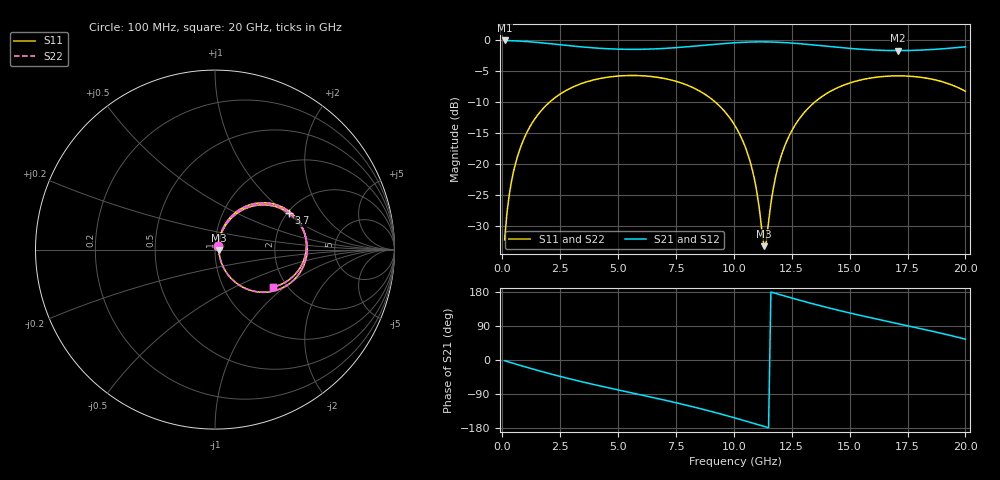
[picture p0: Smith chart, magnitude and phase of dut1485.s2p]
! Touchstone file exported from HFSS 2026.1.0
!  File:  C:/ffzhzh/LocalFiles/Ansys_Project_Files/temp_train_TSV_RDL_1485_1783363584_50076.aedt
!  Generated:  02:59:28 AM Jul  7, 2026
!  Design:  TSV_RDL
!  Project:  temp_train_TSV_RDL_1485_1783363584_50076
! Variables:
!  h_bsmrdl = 5.16um
!  h_ox = 20um
!  h_rdl = 5um
!  h_sub = 91.97um
!  h_tmrdl = 4.09um
!  h_tsv = 91.97um
!  h_via = 3um
!  l_bsmrdl = 996.84um
!  l_sub = 5146um
!  l_tmrdl = 403.35um
!  m_sub = 200um
!  pitch = 56.89um
!  r_tsv = 12.35um
!  s_tmrdl = 10um
!  w_bsmrdl = 25.47um
!  w_sub = 500um
!  w_tmrdl = 21.89um
!  x_tsv_center1 = 414.295um
!  x_tsv_center2 = 1436.605um
!  x_tsv_center3 = 1861.845um
!  x_tsv_center4 = 2884.155um
!  x_tsv_center5 = 3309.395um
!  x_tsv_center6 = 4331.705um
# GHz S MA R 50.000000
! Terminal data exported
! Port[1] = TM_RDL1_1_T1
! Port[2] = TM_RDL5_1_T1
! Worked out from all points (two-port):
!   200 points, 100 MHz to 20 GHz, reference 50 ohm
!   highest |S21| = -0.14 dB at 100 MHz (marker M1); lowest = -1.8 dB at 17.1 GHz (marker M2)
!   |S21| within 3 dB of the highest: start of sweep to end of sweep
!   lowest |S11| = -33.3 dB at 11.3 GHz (marker M3), VSWR 1.04, Z = 52.2 - j0.468 ohm
!   |S11| at or under -10 dB: start of sweep to 2.068 GHz; 9.176 GHz to 13.52 GHz (4.341 GHz wide, 38.3 % of centre)
!   |S22| runs from -33.2 to -5.8 dB; largest |S21 - S12| = 1.7e-14
!   S11 on the Smith chart (normalised r, x): 100 MHz: 1.03, +0.04; 3.7 GHz: 2.04, +1.05; 20 GHz: 1.69, -0.83
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0.1  0.02428 47.9  0.9842 -1.9  0.9842 -1.9  0.02428 47.9
! Gamma 0 0 0 0
! Port Impedance 50 0 50 0
0.3  0.05616 66.3  0.9812 -5.6  0.9812 -5.6  0.05616 66.3
0.5  0.08883 68.8  0.9779 -9.3  0.9779 -9.3  0.08883 68.8
1.1  0.1842 63.8  0.9632 -20.0  0.9632 -20.0  0.1842 63.8
2.1  0.3202 49.2  0.9257 -37.0  0.9257 -37.0  0.3202 49.2
3.5  0.4476 28.9  0.8711 -58.3  0.8711 -58.3  0.4475 28.9
3.7  0.4599 26.2  0.8647 -61.2  0.8647 -61.2  0.4599 26.2
5.3  0.5125 5.2  0.8349 -82.9  0.8349 -82.9  0.5125 5.2
6.8  0.4934 -14.1  0.8448 -103.0  0.8448 -103.0  0.4934 -14.1
8.8  0.3576 -41.6  0.9035 -132.2  0.9035 -132.2  0.3576 -41.6
10.1  0.1949 -59.9  0.9447 -153.8  0.9447 -153.8  0.1949 -59.8
10.8  0.08889 -64.5  0.9568 -166.2  0.9568 -166.2  0.08895 -64.3
11  0.05817 -60.5  0.9582 -169.8  0.9582 -169.8  0.05828 -60.2
11.3  0.02162 -12.0  0.9585 -175.2  0.9585 -175.2  0.02196 -11.7
11.4  0.02341 28.3  0.9581 -177.0  0.9581 -177.0  0.02373 28.0
11.7  0.06267 66.7  0.9553 177.7  0.9553 177.7  0.06281 66.4
12.1  0.1241 69.6  0.9484 170.5  0.9484 170.5  0.1241 69.4
13.4  0.3027 53.8  0.9073 148.5  0.9073 148.5  0.3027 53.7
14.9  0.4401 32.9  0.8524 125.6  0.8524 125.6  0.4402 32.8
16.7  0.5081 9.7  0.8169 101.0  0.8169 101.0  0.5081 9.6
17.1  0.5103 4.7  0.8156 95.7  0.8156 95.7  0.5103 4.6
20  0.3832 -33.0  0.8743 55.1  0.8743 55.1  0.3831 -33.1
